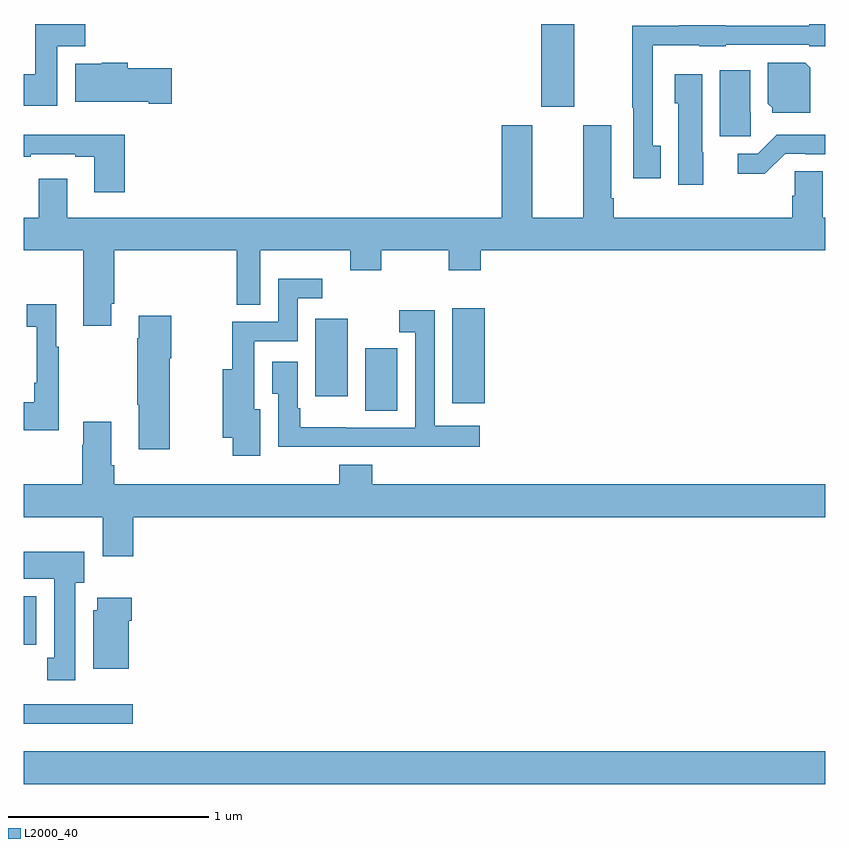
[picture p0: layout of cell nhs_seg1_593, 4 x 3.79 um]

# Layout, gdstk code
import gdstk
lib = gdstk.Library(unit=1e-6, precision=1e-09)
def R(c, l, rs):  # rectangles x0, y0, x1, y1
    for r in rs: c.add(gdstk.rectangle(r[:2], r[2:], *l))
def P(c, l, *ps):  # polygons
    for p in ps: c.add(gdstk.Polygon(p, *l))
L2000_40 = (2000, 40)

nhs_seg1_593 = lib.new_cell('nhs_seg1_593')
R(nhs_seg1_593, L2000_40, [(143,546.404,147,546.568), (143,546.704,143.542,546.801), (143,547.1,143.062,547.342), (144.704,548.269,144.865,548.58), (145.139,548.304,145.3,548.779), (144.455,548.339,144.616,548.728), (145.583,549.786,145.747,550.199)])
P(nhs_seg1_593, L2000_40, [(146.179,549.59),(146.139,549.59),(146.139,550.094),(146.373,550.094),(146.373,550.088),(146.505,550.088),(146.505,550.095),(146.922,550.095),(146.922,550.088),(147,550.088),(147,550.199),(146.922,550.199),(146.922,550.191),(146.505,550.191),(146.505,550.193),(146.273,550.193),(146.273,550.191),(146.038,550.191),(146.038,549.781),(146.043,549.781),(146.043,549.429),(146.179,549.429)],
  [(143.167,550.088),(143.306,550.088),(143.306,550.199),(143.057,550.199),(143.057,549.948),(143,549.948),(143,549.792),(143.167,549.792)],
  [(143.737,549.978),(143.519,549.978),(143.519,550.006),(143.388,550.006),(143.388,550),(143.255,550),(143.255,549.812),(143.624,549.812),(143.624,549.8),(143.737,549.8)],
  [(146.926,549.98),(146.9,550.006),(146.714,550.006),(146.714,549.802),(146.736,549.78),(146.736,549.755),(146.926,549.755)],
  [(146.63,549.762),(146.626,549.762),(146.626,549.967),(146.474,549.967),(146.474,549.639),(146.63,549.639)],
  [(146.392,549.558),(146.386,549.558),(146.386,549.949),(146.249,549.949),(146.249,549.804),(146.267,549.804),(146.267,549.396),(146.392,549.396)],
  [(143.215,549.427),(143.075,549.427),(143.075,549.232),(143,549.232),(143,549.068),(143.297,549.068),(143.297,548.691),(143.437,548.691),(143.437,548.803),(143.45,548.803),(143.45,549.068),(144.063,549.068),(144.063,548.797),(144.181,548.797),(144.181,549.068),(144.628,549.068),(144.628,548.969),(144.783,548.969),(144.783,549.068),(145.12,549.068),(145.12,548.969),(145.28,548.969),(145.28,549.068),(147,549.068),(147,549.232),(146.989,549.232),(146.989,549.464),(146.85,549.464),(146.85,549.342),(146.837,549.342),(146.837,549.232),(145.946,549.232),(145.946,549.328),(145.933,549.328),(145.933,549.694),(145.793,549.694),(145.793,549.232),(145.537,549.232),(145.537,549.694),(145.385,549.694),(145.385,549.232),(143.215,549.232)],
  [(143.504,549.646),(143,549.646),(143,549.537),(143.035,549.537),(143.035,549.549),(143.255,549.549),(143.255,549.537),(143.351,549.537),(143.351,549.36),(143.504,549.36)],
  [(146.802,549.552),(146.902,549.552),(146.902,549.549),(147,549.549),(147,549.646),(146.758,549.646),(146.664,549.552),(146.565,549.552),(146.565,549.45),(146.7,549.45)],
  [(144.181,548.275),(144.151,548.275),(144.151,548.616),(144.366,548.616),(144.366,548.829),(144.49,548.829),(144.49,548.926),(144.27,548.926),(144.27,548.712),(144.04,548.712),(144.04,548.476),(143.993,548.476),(143.993,548.132),(144.043,548.132),(144.043,548.043),(144.181,548.043)],
  [(143.173,548.587),(143.161,548.587),(143.161,548.8),(143.013,548.8),(143.013,548.687),(143.064,548.687),(143.064,548.407),(143.052,548.407),(143.052,548.311),(143,548.311),(143,548.171),(143.173,548.171)],
  [(144.491,548.088),(144.857,548.088),(144.857,548.087),(145.276,548.087),(145.276,548.194),(145.05,548.194),(145.05,548.77),(144.873,548.77),(144.873,548.661),(144.954,548.661),(144.954,548.184),(144.608,548.184),(144.608,548.185),(144.379,548.185),(144.379,548.281),(144.366,548.281),(144.366,548.512),(144.239,548.512),(144.239,548.353),(144.27,548.353),(144.27,548.087),(144.491,548.087)],
  [(143.728,548.53),(143.736,548.53),(143.736,548.743),(143.573,548.743),(143.573,548.63),(143.566,548.63),(143.566,548.299),(143.573,548.299),(143.573,548.076),(143.728,548.076)],
  [(143.437,547.996),(143.437,548.212),(143.297,548.212),(143.297,548.099),(143.29,548.099),(143.29,547.9),(143,547.9),(143,547.736),(143.393,547.736),(143.393,547.542),(143.546,547.542),(143.546,547.736),(147,547.736),(147,547.9),(144.74,547.9),(144.74,547.999),(144.575,547.999),(144.575,547.9),(143.45,547.9),(143.45,547.996)],
  [(143.257,547.41),(143.302,547.41),(143.302,547.564),(143,547.564),(143,547.43),(143.15,547.43),(143.15,547.034),(143.117,547.034),(143.117,546.921),(143.257,546.921)],
  [(143.524,547.22),(143.537,547.22),(143.537,547.333),(143.366,547.333),(143.366,547.272),(143.345,547.272),(143.345,546.98),(143.524,546.98)])

lib.write_gds('nhs_seg1_593.gds')
